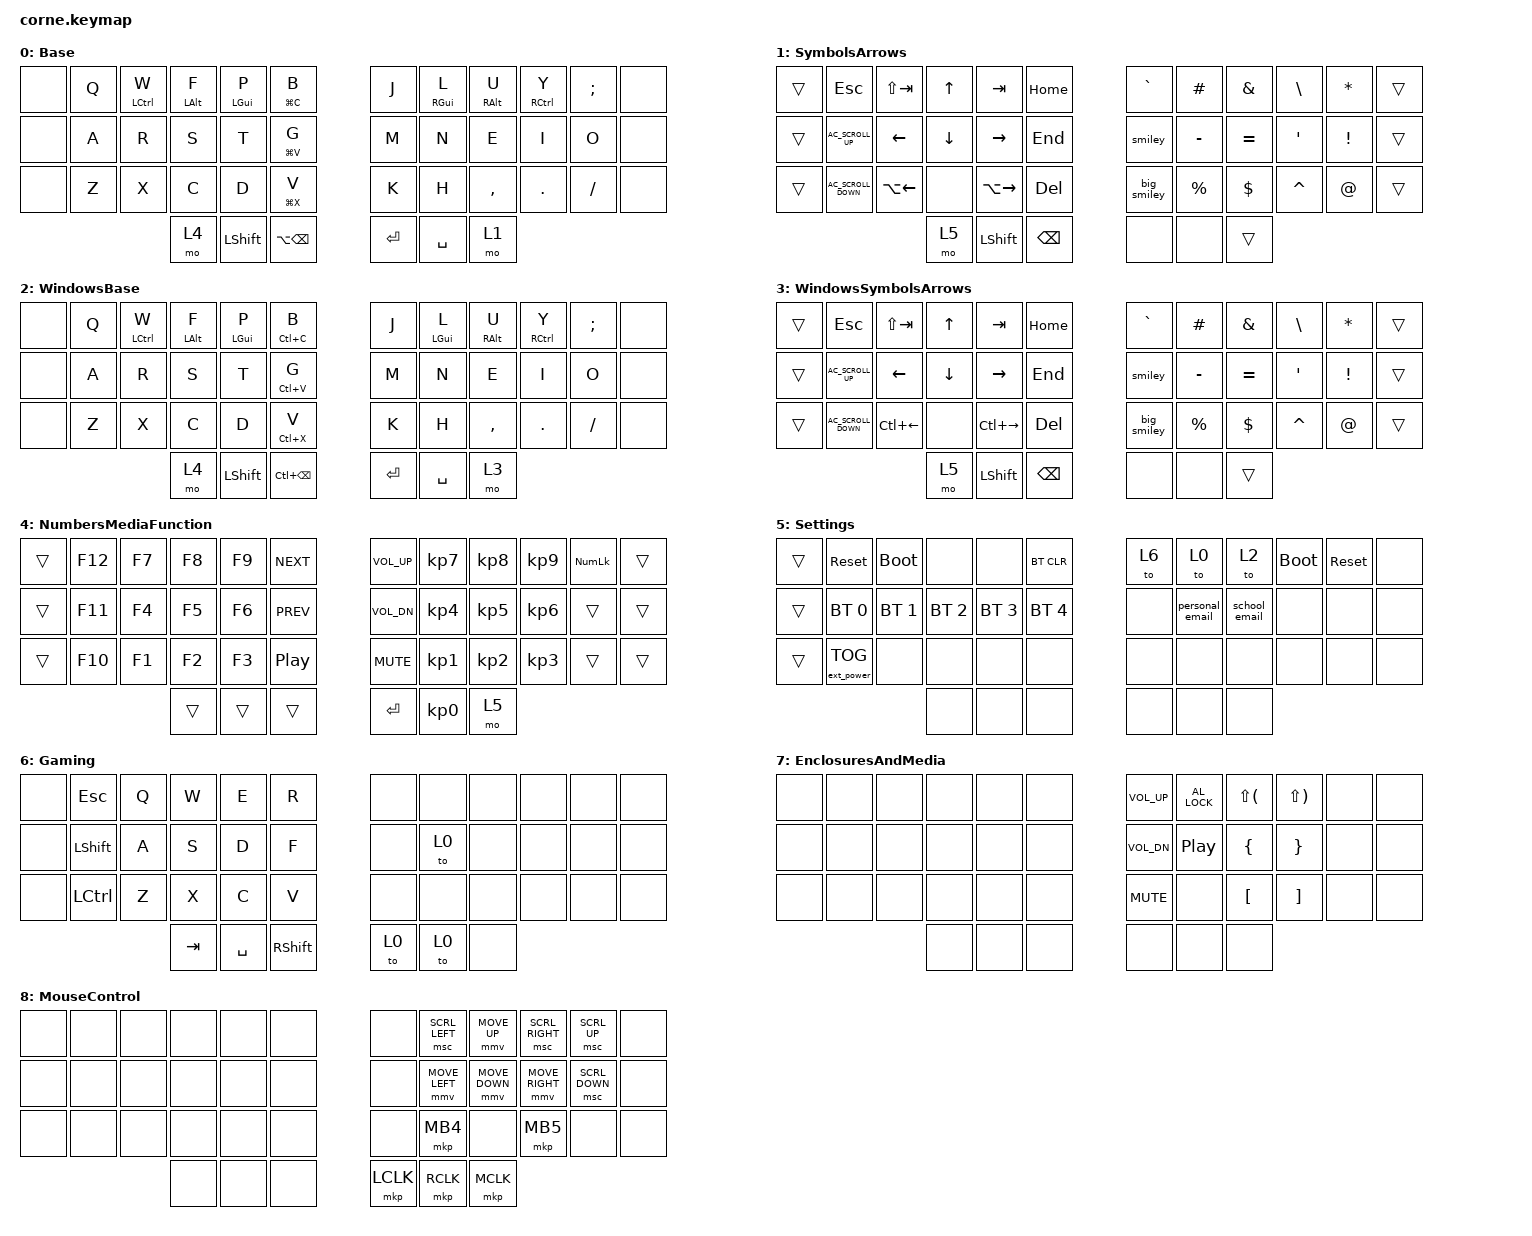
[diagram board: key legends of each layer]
/*
 * Copyright (c) 2020 The ZMK Contributors
 *
 * SPDX-License-Identifier: MIT
 */

#define ZMK_POINTING_DEFAULT_MOVE_VAL 1500  // default: 600
#define ZMK_POINTING_DEFAULT_SCRL_VAL 20    // default: 10

#include <behaviors.dtsi>
#include <dt-bindings/zmk/bt.h>
#include <dt-bindings/zmk/ext_power.h>
#include <dt-bindings/zmk/keys.h>
#include <dt-bindings/zmk/pointing.h>
#include <dt-bindings/zmk/pointing.h>
#include <dt-bindings/zmk/pointing.h>

// Key positions (Chocofi: outer columns 0/11/12/23/24/35 are unused)
#define KEYS_L 1 2 3 4 5 13 14 15 16 17 25 26 27 28 29
#define KEYS_R 6 7 8 9 10 18 19 20 21 22 30 31 32 33 34
#define THUMBS 36 37 38 39 40 41

// Typing cooldown: a mod/combo key pressed within this window after a
// normal key is always treated as a plain tap. Rule of thumb: >= 10500/WPM.
#define PRIOR_IDLE 150

/ {
    behaviors {
        // Left-hand mods: only resolve as hold when paired with a right-hand key or thumb
        hml: home_row_mod_left {
            compatible = "zmk,behavior-hold-tap";
            #binding-cells = <2>;
            flavor = "balanced";
            tapping-term-ms = <280>;
            quick-tap-ms = <175>;
            require-prior-idle-ms = <PRIOR_IDLE>;
            bindings = <&kp>, <&kp>;
            hold-trigger-key-positions = <KEYS_R THUMBS>;
            hold-trigger-on-release;
        };

        // Right-hand mods: mirror of hml
        hmr: home_row_mod_right {
            compatible = "zmk,behavior-hold-tap";
            #binding-cells = <2>;
            flavor = "balanced";
            tapping-term-ms = <280>;
            quick-tap-ms = <175>;
            require-prior-idle-ms = <PRIOR_IDLE>;
            bindings = <&kp>, <&kp>;
            hold-trigger-key-positions = <KEYS_L THUMBS>;
            hold-trigger-on-release;
        };

        // Clipboard keys (B/G/V): only a deliberate timed hold fires copy/paste/cut
        clip: clipboard_hold {
            compatible = "zmk,behavior-hold-tap";
            #binding-cells = <2>;
            flavor = "tap-preferred";
            tapping-term-ms = <250>;
            quick-tap-ms = <175>;
            require-prior-idle-ms = <PRIOR_IDLE>;
            bindings = <&kp>, <&kp>;
        };
    };

    combos {
        compatible = "zmk,combos";

        SpotlightSearch {
            bindings = <&kp LG(SPACE)>;
            key-positions = <37 40>;
            layers = <0>;
            timeout-ms = <30>;
            require-prior-idle-ms = <PRIOR_IDLE>;
        };

        WindowsSearch {
            bindings = <&kp LG(S)>;
            key-positions = <37 40>;
            layers = <2>;
            timeout-ms = <30>;
            require-prior-idle-ms = <PRIOR_IDLE>;
        };

        Enclosures {
            bindings = <&mo 7>;
            key-positions = <40 41>;
            layers = <0 2>;
            timeout-ms = <30>;
            require-prior-idle-ms = <PRIOR_IDLE>;
        };

        Mouse {
            bindings = <&mo 8>;
            key-positions = <36 37>;
            layers = <0 2>;
            timeout-ms = <30>;
            require-prior-idle-ms = <PRIOR_IDLE>;
        };
    };

    macros {
        personal_email: email {
            compatible = "zmk,behavior-macro";
            #binding-cells = <0>;
            bindings = <&kp J &kp A &kp C &kp O &kp B &kp DOT &kp D &kp S &kp DOT &kp I &kp G &kp L &kp E &kp S &kp I &kp A &kp S &kp DOT &kp N5 &kp AT &kp G &kp M &kp A &kp I &kp L &kp DOT &kp C &kp O &kp M>;
            label = "EMAIL";
        };

        school_email: school_email {
            compatible = "zmk,behavior-macro";
            #binding-cells = <0>;
            bindings = <&kp J &kp D &kp I &kp A &kp Z &kp I &kp G &kp L &kp E &kp S &kp I &kp A &kp S &kp N2 &kp N3 &kp N8 &kp N3 &kp AT &kp F &kp L &kp O &kp R &kp I &kp D &kp A &kp P &kp O &kp L &kp Y &kp DOT &kp E &kp D &kp U>;
            label = "SCHOOL_EMAIL";
        };

        smiley: smiley {
            compatible = "zmk,behavior-macro";
            #binding-cells = <0>;
            bindings = <&kp COLON &kp RIGHT_PARENTHESIS>;
            label = "SMILEY";
        };

        big_smiley: big_smiley {
            compatible = "zmk,behavior-macro";
            #binding-cells = <0>;
            bindings = <&kp COLON &kp LS(D)>;
            label = "BIG_SMILEY";
        };
    };

    keymap {
        compatible = "zmk,keymap";

        Base {
            // -----------------------------------------------------------------------------------------
            // |  TAB |  Q  |  W  |  E  |  R  |  T  |   |  Y  |  U   |  I  |  O  |  P  | BSPC |
            // | CTRL |  A  |  S  |  D  |  F  |  G  |   |  H  |  J   |  K  |  L  |  ;  |  '   |
            // | SHFT |  Z  |  X  |  C  |  V  |  B  |   |  N  |  M   |  ,  |  .  |  /  | ESC  |
            //                    | GUI | LWR | SPC |   | ENT | RSE  | ALT |

            bindings = <
&none  &kp Q  &hml LEFT_CONTROL W  &hml LEFT_ALT F  &hml LEFT_GUI P  &clip LG(C) B          &kp J      &hmr RIGHT_GUI L  &hmr RIGHT_ALT U  &hmr RIGHT_CONTROL Y  &kp SEMICOLON  &none
&none  &kp A  &kp R               &kp S           &kp T           &clip LG(V) G          &kp M      &kp N            &kp E            &kp I                &kp O          &none
&none  &kp Z  &kp X               &kp C           &kp D           &clip LG(X) V          &kp K      &kp H            &kp COMMA        &kp DOT              &kp FSLH       &none
                                  &mo 4           &kp LEFT_SHIFT  &kp LA(BACKSPACE)    &kp ENTER  &kp SPACE        &mo 1
            >;
        };

        SymbolsArrows {
            bindings = <
&trans  &kp ESCAPE            &kp LS(TAB)     &kp UP_ARROW    &kp TAB          &kp HOME         &kp GRAVE    &kp HASH     &kp AMPERSAND  &kp BACKSLASH  &kp ASTERISK     &trans
&trans  &kp C_AC_SCROLL_UP    &kp LEFT_ARROW  &kp DOWN_ARROW  &kp RIGHT_ARROW  &kp END          &smiley      &kp MINUS    &kp EQUAL      &kp SQT        &kp EXCLAMATION  &trans
&trans  &kp C_AC_SCROLL_DOWN  &kp LA(LEFT)    &none           &kp LA(RIGHT)    &kp DELETE       &big_smiley  &kp PERCENT  &kp DOLLAR     &kp CARET      &kp AT_SIGN      &trans
                                              &mo 5           &kp LEFT_SHIFT   &kp BACKSPACE    &none        &none        &trans
            >;
        };

        WindowsBase {
            bindings = <
&none  &kp Q  &hml LEFT_CONTROL W  &hml LEFT_ALT F  &hml LEFT_GUI P  &clip LC(C) B          &kp J      &hmr LEFT_GUI L  &hmr RIGHT_ALT U  &hmr RIGHT_CONTROL Y  &kp SEMICOLON  &none
&none  &kp A  &kp R               &kp S           &kp T           &clip LC(V) G          &kp M      &kp N           &kp E            &kp I                &kp O          &none
&none  &kp Z  &kp X               &kp C           &kp D           &clip LC(X) V          &kp K      &kp H           &kp COMMA        &kp DOT              &kp FSLH       &none
                                  &mo 4           &kp LEFT_SHIFT  &kp LC(BACKSPACE)    &kp ENTER  &kp SPACE       &mo 3
            >;
        };

        WindowsSymbolsArrows {
            bindings = <
&trans  &kp ESCAPE            &kp LS(TAB)     &kp UP_ARROW    &kp TAB          &kp HOME         &kp GRAVE    &kp HASH     &kp AMPERSAND  &kp BACKSLASH  &kp ASTERISK     &trans
&trans  &kp C_AC_SCROLL_UP    &kp LEFT_ARROW  &kp DOWN_ARROW  &kp RIGHT_ARROW  &kp END          &smiley      &kp MINUS    &kp EQUAL      &kp SQT        &kp EXCLAMATION  &trans
&trans  &kp C_AC_SCROLL_DOWN  &kp LC(LEFT)    &none           &kp LC(RIGHT)    &kp DELETE       &big_smiley  &kp PERCENT  &kp DOLLAR     &kp CARET      &kp AT_SIGN      &trans
                                              &mo 5           &kp LEFT_SHIFT   &kp BACKSPACE    &none        &none        &trans
            >;
        };

        NumbersMediaFunction {
            // -----------------------------------------------------------------------------------------
            // |  TAB |  1  |  2  |  3  |  4  |  5  |   |  6  |  7  |  8  |  9  |  0  | BSPC |
            // | BTCLR| BT1 | BT2 | BT3 | BT4 | BT5 |   | LFT | DWN |  UP | RGT |     |      |
            // | SHFT |     |     |     |     |     |   |     |     |     |     |     |      |
            //                    | GUI |     | SPC |   | ENT |     | ALT |

            bindings = <
&trans  &kp F12  &kp F7  &kp F8  &kp F9  &kp C_NEXT          &kp C_VOLUME_UP  &kp KP_NUMBER_7  &kp KP_NUMBER_8  &kp KP_NUMBER_9  &kp KP_NUM  &trans
&trans  &kp F11  &kp F4  &kp F5  &kp F6  &kp C_PREV          &kp C_VOL_DN     &kp KP_NUMBER_4  &kp KP_NUMBER_5  &kp KP_NUMBER_6  &trans  &trans
&trans  &kp F10  &kp F1  &kp F2  &kp F3  &kp C_PLAY_PAUSE    &kp C_MUTE       &kp KP_NUMBER_1  &kp KP_NUMBER_2  &kp KP_NUMBER_3  &trans  &trans
                         &trans  &trans  &trans              &kp RET          &kp KP_NUMBER_0  &mo 5
            >;
        };

        Settings {
            // -----------------------------------------------------------------------------------------
            // |  TAB |  !  |  @  |  #  |  $  |  %  |   |  ^  |  &  |  *  |  (  |  )  | BSPC |
            // | CTRL |     |     |     |     |     |   |  -  |  =  |  [  |  ]  |  \  |  `   |
            // | SHFT |     |     |     |     |     |   |  _  |  +  |  {  |  }  | "|" |  ~   |
            //                    | GUI |     | SPC |   | ENT |     | ALT |

            bindings = <
&trans  &sys_reset         &bootloader   &none         &none         &bt BT_CLR      &to 6  &to 0            &to 2          &bootloader  &sys_reset  &none
&trans  &bt BT_SEL 0       &bt BT_SEL 1  &bt BT_SEL 2  &bt BT_SEL 3  &bt BT_SEL 4    &none  &personal_email  &school_email  &none        &none       &none
&trans  &ext_power EP_TOG  &none         &none         &none         &none           &none  &none            &none          &none        &none       &none
                                         &none         &none         &none           &none  &none            &none
            >;
        };

        Gaming {
            bindings = <
&none  &kp ESC           &kp Q  &kp W    &kp E      &kp R              &none  &none  &none  &none  &none  &none
&none  &kp LSHFT         &kp A  &kp S    &kp D      &kp F              &none  &to 0  &none  &none  &none  &none
&none  &kp LEFT_CONTROL  &kp Z  &kp X    &kp C      &kp V              &none  &none  &none  &none  &none  &none
                                &kp TAB  &kp SPACE  &kp RIGHT_SHIFT    &to 0  &to 0  &none
            >;
        };

        EnclosuresAndMedia {
            bindings = <
&none  &none  &none  &none  &none  &none    &kp C_VOL_UP  &kp C_AL_LOCK     &kp LS(LPAR)      &kp LS(RPAR)       &none  &none
&none  &none  &none  &none  &none  &none    &kp C_VOL_DN  &kp C_PLAY_PAUSE  &kp LEFT_BRACE    &kp RIGHT_BRACE    &none  &none
&none  &none  &none  &none  &none  &none    &kp C_MUTE    &none             &kp LEFT_BRACKET  &kp RIGHT_BRACKET  &none  &none
                     &none  &none  &none    &none         &none             &none
            >;
        };

        MouseControl {
            bindings = <
&none  &none  &none  &none  &none  &none    &none      &msc SCRL_LEFT  &mmv MOVE_UP    &msc SCRL_RIGHT  &msc SCRL_UP    &none
&none  &none  &none  &none  &none  &none    &none      &mmv MOVE_LEFT  &mmv MOVE_DOWN  &mmv MOVE_RIGHT  &msc SCRL_DOWN  &none
&none  &none  &none  &none  &none  &none    &none      &mkp MB4        &none           &mkp MB5         &none           &none
                     &none  &none  &none    &mkp LCLK  &mkp RCLK       &mkp MCLK
            >;
        };
    };
};
